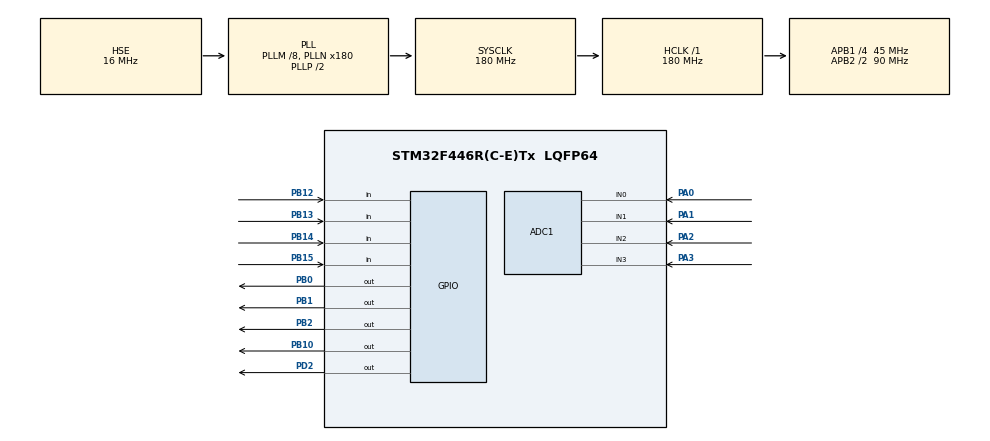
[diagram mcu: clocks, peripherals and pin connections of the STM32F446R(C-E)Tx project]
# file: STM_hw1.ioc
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ADC1.Channel-0\#ChannelRegularConversion=ADC_CHANNEL_0
ADC1.Channel-1\#ChannelRegularConversion=ADC_CHANNEL_1
ADC1.Channel-2\#ChannelRegularConversion=ADC_CHANNEL_2
ADC1.Channel-3\#ChannelRegularConversion=ADC_CHANNEL_3
ADC1.DMAContinuousRequests=ENABLE
ADC1.ExternalTrigConv=ADC_EXTERNALTRIGCONV_T8_TRGO
ADC1.NbrOfConversion=4
ADC1.NbrOfConversionFlag=1
ADC1.Rank-0\#ChannelRegularConversion=1
ADC1.Rank-1\#ChannelRegularConversion=2
ADC1.Rank-2\#ChannelRegularConversion=3
ADC1.Rank-3\#ChannelRegularConversion=4
ADC1.SamplingTime-0\#ChannelRegularConversion=ADC_SAMPLETIME_15CYCLES
ADC1.SamplingTime-1\#ChannelRegularConversion=ADC_SAMPLETIME_15CYCLES
ADC1.SamplingTime-2\#ChannelRegularConversion=ADC_SAMPLETIME_15CYCLES
ADC1.SamplingTime-3\#ChannelRegularConversion=ADC_SAMPLETIME_15CYCLES
ADC1.ScanConvMode=ENABLE
ADC1.master=1
Dma.ADC1.0.Direction=DMA_PERIPH_TO_MEMORY
Dma.ADC1.0.FIFOMode=DMA_FIFOMODE_DISABLE
Dma.ADC1.0.Instance=DMA2_Stream0
Dma.ADC1.0.MemDataAlignment=DMA_MDATAALIGN_WORD
Dma.ADC1.0.MemInc=DMA_MINC_ENABLE
Dma.ADC1.0.Mode=DMA_CIRCULAR
Dma.ADC1.0.PeriphDataAlignment=DMA_PDATAALIGN_WORD
Dma.ADC1.0.PeriphInc=DMA_PINC_DISABLE
Dma.ADC1.0.Priority=DMA_PRIORITY_LOW
Dma.Request0=ADC1
Mcu.Family=STM32F4
Mcu.Name=STM32F446R(C-E)Tx
Mcu.Package=LQFP64
NVIC.ADC_IRQn=true\:0\:0\:false\:false\:true\:true\:true\:true
NVIC.DMA2_Stream0_IRQn=true\:0\:0\:false\:false\:true\:false\:true\:true
NVIC.PriorityGroup=NVIC_PRIORITYGROUP_4
NVIC.TIM8_UP_TIM13_IRQn=true\:0\:0\:false\:false\:true\:true\:true\:true
PA0-WKUP.Signal=ADCx_IN0
PA1.Signal=ADCx_IN1
PA13.Mode=Serial_Wire
PA13.Signal=SYS_JTMS-SWDIO
PA14.Mode=Serial_Wire
PA14.Signal=SYS_JTCK-SWCLK
PA2.Signal=ADCx_IN2
PA3.Signal=ADCx_IN3
PB0.Signal=GPIO_Output
PB1.Signal=GPIO_Output
PB10.Signal=GPIO_Output
PB12.Signal=GPIO_Input
PB13.Signal=GPIO_Input
PB14.Signal=GPIO_Input
PB15.Signal=GPIO_Input
PB2.Signal=GPIO_Output
PD2.Signal=GPIO_Output
PH0-OSC_IN.Mode=HSE-External-Oscillator
PH0-OSC_IN.Signal=RCC_OSC_IN
PH1-OSC_OUT.Mode=HSE-External-Oscillator
PH1-OSC_OUT.Signal=RCC_OSC_OUT
ProjectManager.HeapSize=0x200
ProjectManager.StackSize=0x400
ProjectManager.TargetToolchain=STM32CubeIDE
RCC.AHBFreq_Value=180000000
RCC.APB1CLKDivider=RCC_HCLK_DIV4
RCC.APB1Freq_Value=45000000
RCC.APB1TimFreq_Value=90000000
RCC.APB2CLKDivider=RCC_HCLK_DIV2
RCC.APB2Freq_Value=90000000
RCC.APB2TimFreq_Value=180000000
RCC.CortexFreq_Value=180000000
RCC.HCLKFreq_Value=180000000
RCC.HSE_VALUE=16000000
RCC.PLLM=8
RCC.PLLN=180
RCC.PLLSourceVirtual=RCC_PLLSOURCE_HSE
RCC.SYSCLKFreq_VALUE=180000000
RCC.SYSCLKSource=RCC_SYSCLKSOURCE_PLLCLK
RCC.USBFreq_Value=180000000
RCC.VCOOutputFreq_Value=360000000
SH.ADCx_IN0.0=ADC1_IN0,IN0
SH.ADCx_IN1.0=ADC1_IN1,IN1
SH.ADCx_IN2.0=ADC1_IN2,IN2
SH.ADCx_IN3.0=ADC1_IN3,IN3
TIM8.Period=10000-1
TIM8.Prescaler=180-1
TIM8.TIM_MasterOutputTrigger=TIM_TRGO_UPDATE
VP_TIM8_VS_ClockSourceINT.Mode=Internal
board=custom

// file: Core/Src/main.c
/* USER CODE BEGIN Header */
/**
  ******************************************************************************
  * @file           : main.c
  * @brief          : Main program body
  ******************************************************************************
  * @attention
  *
  * Copyright (c) 2026 STMicroelectronics.
  * All rights reserved.
  *
  * This software is licensed under terms that can be found in the LICENSE file
  * in the root directory of this software component.
  * If no LICENSE file comes with this software, it is provided AS-IS.
  *
  ******************************************************************************
  */
/* USER CODE END Header */
#include "main.h"

ADC_HandleTypeDef hadc1;
DMA_HandleTypeDef hdma_adc1;

TIM_HandleTypeDef htim8;

/* USER CODE BEGIN PV */
uint32_t adc1_buffer[4] = {0, };
volatile uint8_t adc_updated_flag = 0;

#define PD2_TOGGLE_MS 500
#define SHIFT_MS      200
uint8_t led_pattern = 0x01;
uint32_t pd2_last_tick = 0;
uint32_t shift_last_tick = 0;
/* USER CODE END PV */

void SystemClock_Config(void);
static void MX_GPIO_Init(void);
static void MX_DMA_Init(void);
static void MX_ADC1_Init(void);
static void MX_TIM8_Init(void);

/* USER CODE BEGIN 0 */
#define SW_ACTIVE GPIO_PIN_RESET // 스위치를 눌렀을 때의 핀 상태 (Active Low, 반대면 GPIO_PIN_SET)
#define LED_COUNT 4
#define LED_ON_LEVEL  GPIO_PIN_RESET // LED가 켜지는 핀 상태 (Active Low, 반대면 GPIO_PIN_SET)
#define LED_OFF_LEVEL (LED_ON_LEVEL == GPIO_PIN_SET ? GPIO_PIN_RESET : GPIO_PIN_SET)

static const uint16_t led_pins[LED_COUNT] = {GPIO_PIN_0, GPIO_PIN_1, GPIO_PIN_2, GPIO_PIN_10};

static uint8_t sw_pressed(uint16_t pin)
{
  return HAL_GPIO_ReadPin(GPIOB, pin) == SW_ACTIVE;
}

static void leds_write(uint8_t pattern, uint8_t invert)
{
  for (int i = 0; i < LED_COUNT; i++) {
    uint8_t on = (pattern >> i) & 1;
    if (invert) on = !on;
    HAL_GPIO_WritePin(GPIOB, led_pins[i], on ? LED_ON_LEVEL : LED_OFF_LEVEL);
  }
}

static uint8_t pattern_rotate(uint8_t p, uint8_t step, uint8_t right)
{
  step %= LED_COUNT;
  if (right) return ((p >> step) | (p << (LED_COUNT - step))) & 0x0F;
  return ((p << step) | (p >> (LED_COUNT - step))) & 0x0F;
}
/* USER CODE END 0 */

int main(void)
{

  /* MCU Configuration--------------------------------------------------------*/

  /* Reset of all peripherals, Initializes the Flash interface and the Systick. */
  HAL_Init();

  /* Configure the system clock */
  SystemClock_Config();

  /* Initialize all configured peripherals */
  MX_GPIO_Init();
  MX_DMA_Init();
  MX_ADC1_Init();
  MX_TIM8_Init();
  /* USER CODE BEGIN 2 */
  HAL_TIM_Base_Start_IT(&htim8);
  HAL_ADC_Start_DMA(&hadc1, adc1_buffer, 4);
  /* USER CODE END 2 */

  /* Infinite loop */
  while (1)
  {

    /* USER CODE BEGIN 3 */
    uint32_t now = HAL_GetTick();

    // 6. PB15: PD2 TOGGLE 일시정지 (직전 상태 유지)
    if (sw_pressed(GPIO_PIN_15)) {
      pd2_last_tick = now;
    } else if (now - pd2_last_tick >= PD2_TOGGLE_MS) {
      HAL_GPIO_TogglePin(GPIOD, GPIO_PIN_2);   // 1. PD2 LED TOGGLE
      pd2_last_tick = now;
    }

    // 2,3,5. LED 이동: 기본 좌측, PB12 누르면 우측, PB14 누르면 한 번에 2칸
    if (now - shift_last_tick >= SHIFT_MS) {
      uint8_t step = sw_pressed(GPIO_PIN_14) ? 2 : 1;
      led_pattern = pattern_rotate(led_pattern, step, sw_pressed(GPIO_PIN_12));
      shift_last_tick = now;
    }

    // 4. PB13 누르면 LED ON/OFF 반전
    leds_write(led_pattern, sw_pressed(GPIO_PIN_13));
  }
  /* USER CODE END 3 */
}

void SystemClock_Config(void)
{
  RCC_OscInitTypeDef RCC_OscInitStruct = {0};
  RCC_ClkInitTypeDef RCC_ClkInitStruct = {0};

  /** Configure the main internal regulator output voltage
  */
  __HAL_RCC_PWR_CLK_ENABLE();
  __HAL_PWR_VOLTAGESCALING_CONFIG(PWR_REGULATOR_VOLTAGE_SCALE1);

  /** Initializes the RCC Oscillators according to the specified parameters
  * in the RCC_OscInitTypeDef structure.
  */
  RCC_OscInitStruct.OscillatorType = RCC_OSCILLATORTYPE_HSE;
  RCC_OscInitStruct.HSEState = RCC_HSE_ON;
  RCC_OscInitStruct.PLL.PLLState = RCC_PLL_ON;
  RCC_OscInitStruct.PLL.PLLSource = RCC_PLLSOURCE_HSE;
  RCC_OscInitStruct.PLL.PLLM = 8;
  RCC_OscInitStruct.PLL.PLLN = 180;
  RCC_OscInitStruct.PLL.PLLP = RCC_PLLP_DIV2;
  RCC_OscInitStruct.PLL.PLLQ = 2;
  RCC_OscInitStruct.PLL.PLLR = 2;
  if (HAL_RCC_OscConfig(&RCC_OscInitStruct) != HAL_OK)
  {
    Error_Handler();
  }

  /** Activate the Over-Drive mode
  */
  if (HAL_PWREx_EnableOverDrive() != HAL_OK)
  {
    Error_Handler();
  }

  /** Initializes the CPU, AHB and APB buses clocks
  */
  RCC_ClkInitStruct.ClockType = RCC_CLOCKTYPE_HCLK|RCC_CLOCKTYPE_SYSCLK
                              |RCC_CLOCKTYPE_PCLK1|RCC_CLOCKTYPE_PCLK2;
  RCC_ClkInitStruct.SYSCLKSource = RCC_SYSCLKSOURCE_PLLCLK;
  RCC_ClkInitStruct.AHBCLKDivider = RCC_SYSCLK_DIV1;
  RCC_ClkInitStruct.APB1CLKDivider = RCC_HCLK_DIV4;
  RCC_ClkInitStruct.APB2CLKDivider = RCC_HCLK_DIV2;

  if (HAL_RCC_ClockConfig(&RCC_ClkInitStruct, FLASH_LATENCY_5) != HAL_OK)
  {
    Error_Handler();
  }
}

static void MX_ADC1_Init(void)
{

  ADC_ChannelConfTypeDef sConfig = {0};

  /** Configure the global features of the ADC (Clock, Resolution, Data Alignment and number of conversion)
  */
  hadc1.Instance = ADC1;
  hadc1.Init.ClockPrescaler = ADC_CLOCK_SYNC_PCLK_DIV4;
  hadc1.Init.Resolution = ADC_RESOLUTION_12B;
  hadc1.Init.ScanConvMode = ENABLE;
  hadc1.Init.ContinuousConvMode = DISABLE;
  hadc1.Init.DiscontinuousConvMode = DISABLE;
  hadc1.Init.ExternalTrigConvEdge = ADC_EXTERNALTRIGCONVEDGE_RISING;
  hadc1.Init.ExternalTrigConv = ADC_EXTERNALTRIGCONV_T8_TRGO;
  hadc1.Init.DataAlign = ADC_DATAALIGN_RIGHT;
  hadc1.Init.NbrOfConversion = 4;
  hadc1.Init.DMAContinuousRequests = ENABLE;
  hadc1.Init.EOCSelection = ADC_EOC_SINGLE_CONV;
  if (HAL_ADC_Init(&hadc1) != HAL_OK)
  {
    Error_Handler();
  }

  /** Configure for the selected ADC regular channel its corresponding rank in the sequencer and its sample time.
  */
  sConfig.Channel = ADC_CHANNEL_0;
  sConfig.Rank = 1;
  sConfig.SamplingTime = ADC_SAMPLETIME_15CYCLES;
  if (HAL_ADC_ConfigChannel(&hadc1, &sConfig) != HAL_OK)
  {
    Error_Handler();
  }

  /** Configure for the selected ADC regular channel its corresponding rank in the sequencer and its sample time.
  */
  sConfig.Channel = ADC_CHANNEL_1;
  sConfig.Rank = 2;
  if (HAL_ADC_ConfigChannel(&hadc1, &sConfig) != HAL_OK)
  {
    Error_Handler();
  }

  /** Configure for the selected ADC regular channel its corresponding rank in the sequencer and its sample time.
  */
  sConfig.Channel = ADC_CHANNEL_2;
  sConfig.Rank = 3;
  if (HAL_ADC_ConfigChannel(&hadc1, &sConfig) != HAL_OK)
  {
    Error_Handler();
  }

  /** Configure for the selected ADC regular channel its corresponding rank in the sequencer and its sample time.
  */
  sConfig.Channel = ADC_CHANNEL_3;
  sConfig.Rank = 4;
  if (HAL_ADC_ConfigChannel(&hadc1, &sConfig) != HAL_OK)
  {
    Error_Handler();
  }

}

static void MX_TIM8_Init(void)
{

  TIM_ClockConfigTypeDef sClockSourceConfig = {0};
  TIM_MasterConfigTypeDef sMasterConfig = {0};

  htim8.Instance = TIM8;
  htim8.Init.Prescaler = 180-1;
  htim8.Init.CounterMode = TIM_COUNTERMODE_UP;
  htim8.Init.Period = 10000-1;
  htim8.Init.ClockDivision = TIM_CLOCKDIVISION_DIV1;
  htim8.Init.RepetitionCounter = 0;
  htim8.Init.AutoReloadPreload = TIM_AUTORELOAD_PRELOAD_DISABLE;
  if (HAL_TIM_Base_Init(&htim8) != HAL_OK)
  {
    Error_Handler();
  }
  sClockSourceConfig.ClockSource = TIM_CLOCKSOURCE_INTERNAL;
  if (HAL_TIM_ConfigClockSource(&htim8, &sClockSourceConfig) != HAL_OK)
  {
    Error_Handler();
  }
  sMasterConfig.MasterOutputTrigger = TIM_TRGO_UPDATE;
  sMasterConfig.MasterSlaveMode = TIM_MASTERSLAVEMODE_DISABLE;
  if (HAL_TIMEx_MasterConfigSynchronization(&htim8, &sMasterConfig) != HAL_OK)
  {
    Error_Handler();
  }

}

static void MX_DMA_Init(void)
{

  /* DMA controller clock enable */
  __HAL_RCC_DMA2_CLK_ENABLE();

  /* DMA interrupt init */
  /* DMA2_Stream0_IRQn interrupt configuration */
  HAL_NVIC_SetPriority(DMA2_Stream0_IRQn, 0, 0);
  HAL_NVIC_EnableIRQ(DMA2_Stream0_IRQn);

}

static void MX_GPIO_Init(void)
{
  GPIO_InitTypeDef GPIO_InitStruct = {0};

  /* GPIO Ports Clock Enable */
  __HAL_RCC_GPIOH_CLK_ENABLE();
  __HAL_RCC_GPIOA_CLK_ENABLE();
  __HAL_RCC_GPIOB_CLK_ENABLE();
  __HAL_RCC_GPIOD_CLK_ENABLE();

  /*Configure GPIO pin Output Level */
  HAL_GPIO_WritePin(GPIOB, GPIO_PIN_0|GPIO_PIN_1|GPIO_PIN_2|GPIO_PIN_10, GPIO_PIN_RESET);

  /*Configure GPIO pin Output Level */
  HAL_GPIO_WritePin(GPIOD, GPIO_PIN_2, GPIO_PIN_RESET);

  /*Configure GPIO pins : PB0 PB1 PB2 PB10 */
  GPIO_InitStruct.Pin = GPIO_PIN_0|GPIO_PIN_1|GPIO_PIN_2|GPIO_PIN_10;
  GPIO_InitStruct.Mode = GPIO_MODE_OUTPUT_PP;
  GPIO_InitStruct.Pull = GPIO_NOPULL;
  GPIO_InitStruct.Speed = GPIO_SPEED_FREQ_LOW;
  HAL_GPIO_Init(GPIOB, &GPIO_InitStruct);

  /*Configure GPIO pins : PB12 PB13 PB14 PB15 */
  GPIO_InitStruct.Pin = GPIO_PIN_12|GPIO_PIN_13|GPIO_PIN_14|GPIO_PIN_15;
  GPIO_InitStruct.Mode = GPIO_MODE_INPUT;
  GPIO_InitStruct.Pull = GPIO_NOPULL;
  HAL_GPIO_Init(GPIOB, &GPIO_InitStruct);

  /*Configure GPIO pin : PD2 */
  GPIO_InitStruct.Pin = GPIO_PIN_2;
  GPIO_InitStruct.Mode = GPIO_MODE_OUTPUT_PP;
  GPIO_InitStruct.Pull = GPIO_NOPULL;
  GPIO_InitStruct.Speed = GPIO_SPEED_FREQ_LOW;
  HAL_GPIO_Init(GPIOD, &GPIO_InitStruct);

}

/* USER CODE BEGIN 4 */
void HAL_ADC_ConvCpltCallback(ADC_HandleTypeDef* hadc)
{
  if (hadc->Instance == hadc1.Instance) {
    adc_updated_flag = 1; // Callback이 호출되었다는 표시만 남김

    // 여기서 buffer 값을 다른 변수로 복사하거나
    // 필터를 적용하고 싶으면 이 안에서 처리함.
  }
}
/* USER CODE END 4 */

void Error_Handler(void)
{
  __disable_irq();
  while (1)
  {
  }
}
